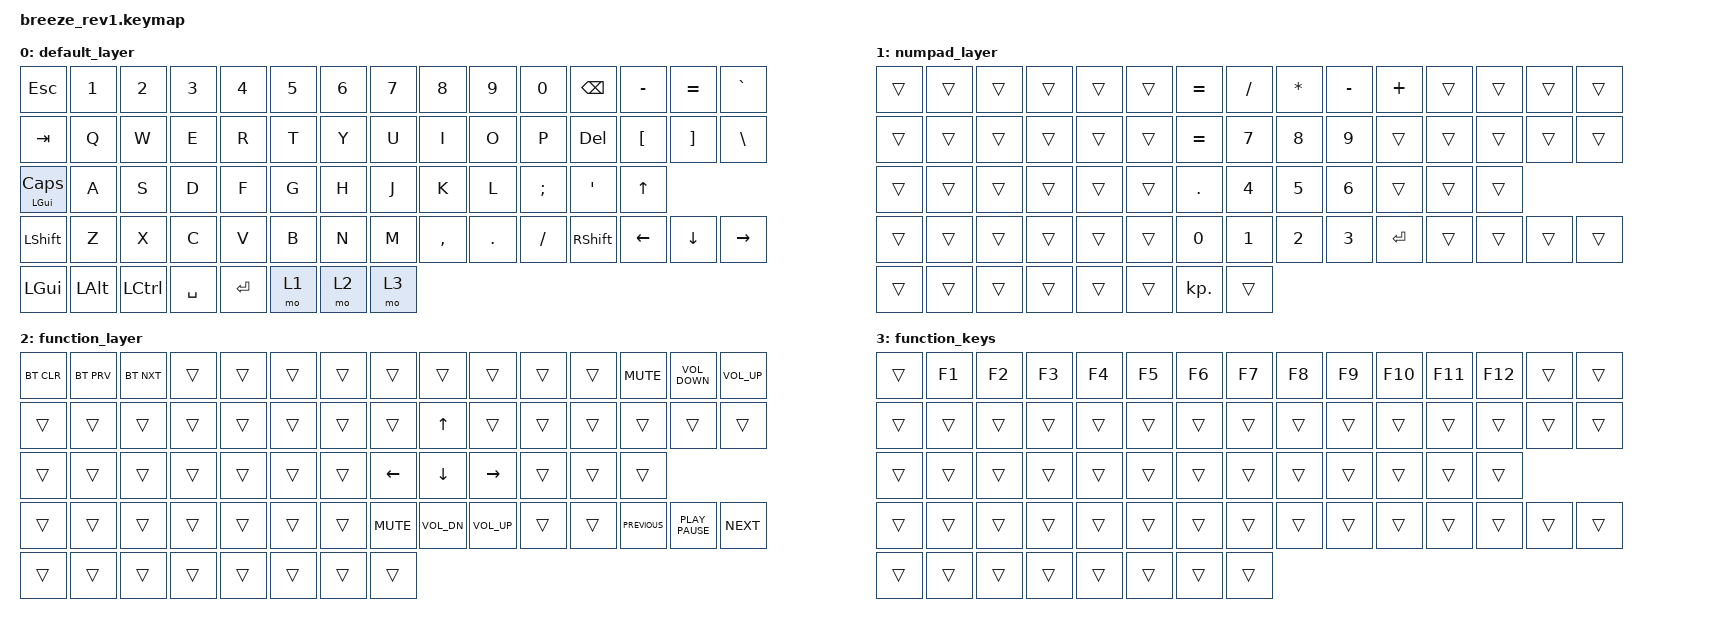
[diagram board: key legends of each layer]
/*
 * Copyright (c) 2022 The ZMK Contributors
 *
 * SPDX-License-Identifier: MIT
 * RPL 9/13/25 Note: Need to disable https://discussions.apple.com/thread/255801630?sortBy=rank MAC OS caps lock delay
 * for mod tap to register short caps lock press Enter this in terminal --> hidutil property --set '{"CapsLockDelayOverride":0}'
 */

#include <behaviors.dtsi>
#include <dt-bindings/zmk/bt.h>
#include <dt-bindings/zmk/keys.h>

/ {
    keymap {
        compatible = "zmk,keymap";

        default_layer {
            // Ref: https://zmkfirmware.dev/docs/codes/
            // ---  MAIN  -----------------------------------------------------------------------------------------------------------------------
            // |    ESC    |     1     |     2     |     3      |      4      |      5     |                           |      6      |      7     |      8      |      9     |     0    |    BSPC    | |    -/_    |     =/+     |    GRAVE    |
            // |    TAB    |     Q     |     W     |     E      |      R      |      T     |                           |      Y      |      U     |      I      |      O     |     P    |    DEL     | |     \     |      [      |      ]      |
            // |   LCTRL   |     A     |     S     |     D      |      F      |      G     |                           |      H      |      J     |      K      |      L     |     ;    |     '      | |           |      UP     |             |
            // |   SHIFT   |     Z     |     X     |     C      |      V      |      B     |                           |      N      |      M     |      ,      |      .     |     /    |   RSHIFT   | |     L     |      DN     |      R      |
            //                                     |   NUMPAD   |     LALT    |    LCMD    |   SPACE    |  |   ENTER   |   FUNCTION  |  MACOS APP |  MACOS LANG |

            bindings = <
&kp ESC            &kp N1    &kp N2     &kp N3     &kp N4   &kp N5  &kp N6  &kp N7  &kp N8     &kp N9   &kp N0    &kp BSPC    &kp MINUS         &kp EQUAL            &kp GRAVE
&kp TAB            &kp Q     &kp W      &kp E      &kp R    &kp T   &kp Y   &kp U   &kp I      &kp O    &kp P     &kp DEL     &kp LEFT_BRACKET  &kp RIGHT_BRACKET    &kp BACKSLASH
&mt LGUI CAPSLOCK  &kp A     &kp S      &kp D      &kp F    &kp G   &kp H   &kp J   &kp K      &kp L    &kp SEMI  &kp APOS    &kp UP
&kp LSHFT          &kp Z     &kp X      &kp C      &kp V    &kp B   &kp N   &kp M   &kp COMMA  &kp DOT  &kp FSLH  &kp RSHIFT  &kp LEFT          &kp DOWN             &kp RIGHT
&kp LGUI           &kp LALT  &kp LCTRL  &kp SPACE  &kp RET  &mo 1   &mo 2   &mo 3
            >;
        };

        numpad_layer {
            // ---  NUMPAD  -------------------------------------------------------------------------------------------------------------------
            // |           |           |           |            |             |            |                           |       =       |      /       |      *       |      -     |          |            | |           |             |             |
            // |           |           |           |            |             |            |                           |       7       |      8       |      9       |      +     |          |            | |           |             |             |
            // |           |           |           |            |             |            |                           |       4       |      5       |      6       |            |          |            | |           |             |             |
            // |           |           |           |            |             |            |                           |       1       |      2       |      3       |            |          |            | |           |             |             |
            //                                     |            |             |            |            |  |           |       0       |      .       |              |

            bindings = <
&trans  &trans  &trans  &trans  &trans  &trans  &kp EQUAL     &kp SLASH     &kp STAR      &kp MINUS     &kp PLUS   &trans  &trans  &trans  &trans
&trans  &trans  &trans  &trans  &trans  &trans  &kp EQUAL     &kp N7        &kp N8        &kp N9        &trans     &trans  &trans  &trans  &trans
&trans  &trans  &trans  &trans  &trans  &trans  &kp DOT       &kp NUMBER_4  &kp N5        &kp NUMBER_6  &trans     &trans  &trans
&trans  &trans  &trans  &trans  &trans  &trans  &kp NUMBER_0  &kp NUMBER_1  &kp NUMBER_2  &kp NUMBER_3  &kp ENTER  &trans  &trans  &trans  &trans
&trans  &trans  &trans  &trans  &trans  &trans  &kp KP_DOT    &trans
            >;
        };

        function_layer {
            // ---  FUNCTION  -------------------------------------------------------------------------------------------------------------------
            // | BT Clear  |  BT Prev  |  BT Next  |            |             |            |                           |             |            |             |            |          |            | |           |             |             |
            // |           |           |           |            |             |            |                           |             |            |     UP      |            |          |            | |           |             |             |
            // |           |           |           |            |             |            |                           |             |    LEFT    |    DOWN     |   RIGHT    |          |            | |           |             |             |
            // |           |           |           |            |             |            |                           |             |    MUTE    |  VOL DOWN   |   VOL UP   |          |            | |           |             |             |
            //                                     |            |             |            |            |  |           |             |            |             |

            bindings = <
&bt BT_CLR  &bt BT_PRV  &bt BT_NXT  &trans  &trans  &trans  &trans  &trans      &trans        &trans        &trans  &trans  &kp K_MUTE      &kp C_VOLUME_DOWN  &kp C_VOL_UP
&trans      &trans      &trans      &trans  &trans  &trans  &trans  &trans      &kp UP        &trans        &trans  &trans  &trans          &trans             &trans
&trans      &trans      &trans      &trans  &trans  &trans  &trans  &kp LEFT    &kp DOWN      &kp RIGHT     &trans  &trans  &trans
&trans      &trans      &trans      &trans  &trans  &trans  &trans  &kp C_MUTE  &kp C_VOL_DN  &kp C_VOL_UP  &trans  &trans  &kp K_PREVIOUS  &kp K_PLAY_PAUSE   &kp K_NEXT
&trans      &trans      &trans      &trans  &trans  &trans  &trans  &trans
            >;
        };

        function_keys {
            bindings = <
&trans  &kp F1  &kp F2  &kp F3  &kp F4  &kp F5  &kp F6  &kp F7  &kp F8  &kp F9  &kp F10  &kp F11  &kp F12  &trans  &trans
&trans  &trans  &trans  &trans  &trans  &trans  &trans  &trans  &trans  &trans  &trans   &trans   &trans   &trans  &trans
&trans  &trans  &trans  &trans  &trans  &trans  &trans  &trans  &trans  &trans  &trans   &trans   &trans
&trans  &trans  &trans  &trans  &trans  &trans  &trans  &trans  &trans  &trans  &trans   &trans   &trans   &trans  &trans
&trans  &trans  &trans  &trans  &trans  &trans  &trans  &trans
            >;
        };
    };
};
